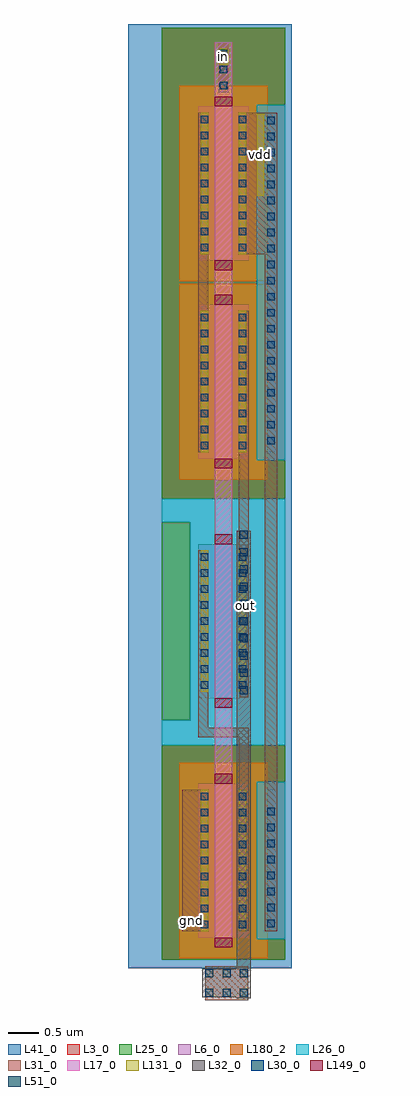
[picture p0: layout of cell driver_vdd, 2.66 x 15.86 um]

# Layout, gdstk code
from math import pi, radians
import gdstk
lib = gdstk.Library(unit=1e-6, precision=1e-09)
def R(c, l, rs):  # rectangles x0, y0, x1, y1
    for r in rs: c.add(gdstk.rectangle(r[:2], r[2:], *l))
def A(c, l, x, y, w, h, nx, ny, dx, dy):  # array of equal rectangles
    R(c, l, [(x+i*dx, y+j*dy, x+i*dx+w, y+j*dy+h) for i in range(nx) for j in range(ny)])
L3_0 = (3, 0)
L6_0 = (6, 0)
L17_0 = (17, 0)
L25_0 = (25, 0)
L26_0 = (26, 0)
L30_0 = (30, 0)
L31_0 = (31, 0)
L32_0 = (32, 0)
L41_0 = (41, 0)
L51_0 = (51, 0)
L131_0 = (131, 0)
L149_0 = (149, 0)
L180_2 = (180, 2)

pc_ct = lib.new_cell('pc_ct')
R(pc_ct, L30_0, [(0,0,0.12,0.12)])

nsvt25_cdns_578353212320 = lib.new_cell('nsvt25_CDNS_578353212320')
R(nsvt25_cdns_578353212320, L6_0, [(-0.27,0,0,2.5), (-0.27,0,0.55,2.5), (0.28,0,0.55,2.5)])
R(nsvt25_cdns_578353212320, L17_0, [(0,-0.16,0.28,2.66)])
R(nsvt25_cdns_578353212320, L26_0, [(-0.4,-0.36,0.68,2.86)])
R(nsvt25_cdns_578353212320, L31_0, [(-0.23,0.1,-0.11,2.4), (0.39,0.1,0.51,2.4)])
R(nsvt25_cdns_578353212320, L41_0, [(-0.54,-0.34,0.82,2.84)])
R(nsvt25_cdns_578353212320, L131_0, [(-0.23,0.1,-0.11,2.4), (0.39,0.1,0.51,2.4)])
R(nsvt25_cdns_578353212320, L149_0, [(0,-0.16,0.28,0), (0,2.5,0.28,2.66)])
r = gdstk.Reference(pc_ct, (0.39,0.15)); r.repetition = gdstk.Repetition(1, 9, v1=(0.26,0), v2=(0,0.26)); nsvt25_cdns_578353212320.add(r)
r = gdstk.Reference(pc_ct, (-0.23,0.15)); r.repetition = gdstk.Repetition(1, 9, v1=(0.26,0), v2=(0,0.26)); nsvt25_cdns_578353212320.add(r)
nsvt25_cdns_578353212320.add(gdstk.Label('d', (0.28,0), layer=6, texttype=0))
nsvt25_cdns_578353212320.add(gdstk.Label('s', (0,0), layer=6, texttype=0))
nsvt25_cdns_578353212320.add(gdstk.Label('d', (0.415,1.25), layer=127, texttype=0))
nsvt25_cdns_578353212320.add(gdstk.Label('s', (-0.135,1.25), layer=127, texttype=0))
nsvt25_cdns_578353212320.add(gdstk.Label('d', (0.45,1.25), layer=131, texttype=0))
nsvt25_cdns_578353212320.add(gdstk.Label('s', (-0.17,1.25), layer=131, texttype=0))
nsvt25_cdns_578353212320.add(gdstk.Label('g', (0.14,2.58), layer=149, texttype=0))
nsvt25_cdns_578353212320.add(gdstk.Label('g', (0.14,-0.08), layer=149, texttype=0))

psvt25_cdns_578353212321 = lib.new_cell('psvt25_CDNS_578353212321')
R(psvt25_cdns_578353212321, L3_0, [(-0.58,-0.34,0.86,2.84)])
R(psvt25_cdns_578353212321, L6_0, [(-0.27,0,0,2.5), (-0.27,0,0.55,2.5), (0.28,0,0.55,2.5)])
R(psvt25_cdns_578353212321, L17_0, [(0,-0.16,0.28,2.66)])
R(psvt25_cdns_578353212321, L25_0, [(-0.4,-0.36,0.68,2.86)])
R(psvt25_cdns_578353212321, L31_0, [(-0.23,0.1,-0.11,2.4), (0.39,0.1,0.51,2.4)])
R(psvt25_cdns_578353212321, L41_0, [(-0.58,-0.34,0.86,2.84)])
R(psvt25_cdns_578353212321, L131_0, [(-0.23,0.1,-0.11,2.4), (0.39,0.1,0.51,2.4)])
R(psvt25_cdns_578353212321, L149_0, [(0,-0.16,0.28,0), (0,2.5,0.28,2.66)])
R(psvt25_cdns_578353212321, L180_2, [(-0.58,-0.34,0.86,2.84)])
r = gdstk.Reference(pc_ct, (0.39,0.15)); r.repetition = gdstk.Repetition(1, 9, v1=(0.26,0), v2=(0,0.26)); psvt25_cdns_578353212321.add(r)
r = gdstk.Reference(pc_ct, (-0.23,0.15)); r.repetition = gdstk.Repetition(1, 9, v1=(0.26,0), v2=(0,0.26)); psvt25_cdns_578353212321.add(r)
psvt25_cdns_578353212321.add(gdstk.Label('d', (0.28,0), layer=6, texttype=0))
psvt25_cdns_578353212321.add(gdstk.Label('s', (0,0), layer=6, texttype=0))
psvt25_cdns_578353212321.add(gdstk.Label('d', (0.415,1.25), layer=127, texttype=0))
psvt25_cdns_578353212321.add(gdstk.Label('s', (-0.135,1.25), layer=127, texttype=0))
psvt25_cdns_578353212321.add(gdstk.Label('d', (0.45,1.25), layer=131, texttype=0))
psvt25_cdns_578353212321.add(gdstk.Label('s', (-0.17,1.25), layer=131, texttype=0))
psvt25_cdns_578353212321.add(gdstk.Label('g', (0.14,2.58), layer=149, texttype=0))
psvt25_cdns_578353212321.add(gdstk.Label('g', (0.14,-0.08), layer=149, texttype=0))
psvt25_cdns_578353212321.add(gdstk.Label('b', (0.14,1.25), layer=180, texttype=2))

m1__po_cdns_578353212320 = lib.new_cell('M1__PO_CDNS_578353212320')
R(m1__po_cdns_578353212320, L17_0, [(-0.08,-0.37,0.08,0.37)])
A(m1__po_cdns_578353212320, L30_0, -0.06, -0.32, 0.12, 0.12, 1, 3, 0, 0.26)
R(m1__po_cdns_578353212320, L31_0, [(-0.06,-0.37,0.06,0.37)])

m2_m1_s_cdns_57835321232 = lib.new_cell('M2_M1_S_CDNS_578353212321')
R(m2_m1_s_cdns_57835321232, L31_0, [(-0.35,-0.275,0.35,0.275)])
R(m2_m1_s_cdns_57835321232, L32_0, [(-0.395,-0.23,0.395,0.23)])
A(m2_m1_s_cdns_57835321232, L51_0, -0.345, -0.225, 0.13, 0.13, 3, 2, 0.28, 0.32)

c_m2_m1_s_cdns_57835321232 = lib.new_cell('M2_M1_S_CDNS_578353212322')
R(c_m2_m1_s_cdns_57835321232, L31_0, [(-0.07,-1.375,0.07,1.375)])
R(c_m2_m1_s_cdns_57835321232, L32_0, [(-0.115,-1.33,0.115,1.33)])
A(c_m2_m1_s_cdns_57835321232, L51_0, -0.065, -1.325, 0.13, 0.13, 1, 10, 0, 0.28)

driver_vdd = lib.new_cell('driver_vdd')
R(driver_vdd, L3_0, [(-1.86,0.63,0.14,4.11), (-1.86,0.63,-0.32,4.11), (-1.86,8.12,0.14,15.77), (-1.86,8.12,-0.32,15.63), (-0.32,11.61,-0.14,11.65)])
R(driver_vdd, L17_0, [(-1,3.64,-0.72,3.68), (-1,15.43,-0.72,15.53)])
R(driver_vdd, L25_0, [(-1.86,0.63,-1.4,3.85), (-0.32,0.63,0.14,0.96), (-0.32,3.52,0.14,4.11), (-1.86,3.85,-0.32,4.11), (-1.86,4.52,-1.4,7.74), (-1.86,8.12,-0.32,8.41), (-0.32,8.12,0.14,8.74), (-1.86,8.41,-1.4,14.85), (-0.32,14.52,0.14,15.77), (-1.86,14.85,-0.32,15.63), (-1.86,15.63,-0.32,15.77)])
R(driver_vdd, L26_0, [(-1.86,4.11,-0.32,4.52), (-0.32,4.11,0.14,8.12), (-1.86,7.74,-0.32,8.12)])
A(driver_vdd, L30_0, -0.15, 1.16, 0.12, 0.12, 1, 8, 0, 0.26)
A(driver_vdd, L30_0, -0.15, 9, 0.12, 0.12, 1, 21, 0, 0.26)
R(driver_vdd, L31_0, [(-1.53,1.09,-1.23,3.39), (-0.61,1.09,-0.45,4.4), (-1.27,4.98,-1.11,7.28), (-0.61,4.98,-0.45,11.17), (-1.27,8.87,-1.11,14.39), (-0.49,12.09,-0.18,14.39), (-0.94,14.72,-0.78,15.53)])
R(driver_vdd, L41_0, [(-2.41,0.49,0.25,15.83)])
R(driver_vdd, L131_0, [(-1.44,1.2,-1.32,1.32), (-0.57,6.32,-0.45,6.44), (-0.32,13.04,-0.2,14.37), (-0.93,15.17,-0.78,15.43)])
driver_vdd.add(gdstk.FlexPath([(-0.09,8.87),(-0.09,3.39)], 0.2, ends="flush", simple_path=True, layer=31, datatype=0))  # L31_0
driver_vdd.add(gdstk.FlexPath([(-0.09,1.09),(-0.09,3.39)], 0.2, ends="flush", simple_path=True, layer=31, datatype=0))  # L31_0
driver_vdd.add(gdstk.FlexPath([(-0.09,14.39),(-0.09,8.87)], 0.2, ends="flush", simple_path=True, layer=31, datatype=0))  # L31_0
driver_vdd.add(gdstk.FlexPath([(-1.19,4.98),(-1.19,4.32)], 0.16, ends=(0, 0.08), simple_path=True, layer=31, datatype=0))  # L31_0
driver_vdd.add(gdstk.FlexPath([(-1.19,4.32),(-0.49,4.32)], 0.16, ends=(0.08, 0), simple_path=True, layer=31, datatype=0))  # L31_0
driver_vdd.add(gdstk.FlexPath([(-0.86,14.625),(-0.86,15.43)], 0.28, ends="flush", simple_path=True, layer=17, datatype=0))  # L17_0
driver_vdd.add(gdstk.FlexPath([(-0.86,3.675),(-0.86,8.7)], 0.28, ends="flush", simple_path=True, layer=17, datatype=0))  # L17_0
driver_vdd.add(gdstk.FlexPath([(-0.86,11.96),(-0.86,11.34)], 0.28, ends="flush", simple_path=True, layer=17, datatype=0))  # L17_0
driver_vdd.add(gdstk.FlexPath([(-0.09,1.09),(-0.09,3.39)], 0.2, ends="flush", simple_path=True, layer=6, datatype=0))  # L6_0
driver_vdd.add(gdstk.FlexPath([(-0.09,14.39),(-0.09,8.87)], 0.2, ends="flush", simple_path=True, layer=6, datatype=0))  # L6_0
driver_vdd.add(gdstk.FlexPath([(-0.09,0.96),(-0.09,3.52)], 0.46, ends="flush", simple_path=True, layer=26, datatype=0))  # L26_0
driver_vdd.add(gdstk.FlexPath([(-0.09,14.52),(-0.09,8.74)], 0.46, ends="flush", simple_path=True, layer=26, datatype=0))  # L26_0
driver_vdd.add(gdstk.FlexPath([(-0.53,6.27),(-0.53,0)], 0.23, ends="flush", simple_path=True, layer=32, datatype=0))  # L32_0
driver_vdd.add(gdstk.Reference(nsvt25_cdns_578353212320, (-1,4.88)))
driver_vdd.add(gdstk.Reference(psvt25_cdns_578353212321, (-0.72,3.49), rotation=pi))
driver_vdd.add(gdstk.Reference(psvt25_cdns_578353212321, (-0.72,14.49), rotation=pi))
driver_vdd.add(gdstk.Reference(psvt25_cdns_578353212321, (-1,8.77)))
driver_vdd.add(gdstk.Reference(m1__po_cdns_578353212320, (-0.86,15.09)))
driver_vdd.add(gdstk.Reference(m2_m1_s_cdns_57835321232, (-0.81,0.25)))
driver_vdd.add(gdstk.Reference(c_m2_m1_s_cdns_57835321232, (-0.53,6.27)))
driver_vdd.add(gdstk.Label('gnd', (-1.38,1.26), layer=131, texttype=0))
driver_vdd.add(gdstk.Label('vdd', (-0.26,13.705), layer=131, texttype=0))
driver_vdd.add(gdstk.Label('out', (-0.51,6.38), layer=131, texttype=0))
driver_vdd.add(gdstk.Label('in', (-0.855,15.3), layer=131, texttype=0))

lib.write_gds('driver_vdd.gds')
